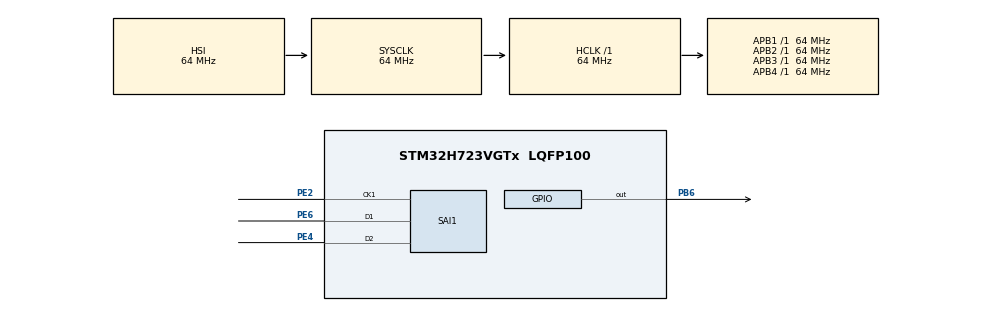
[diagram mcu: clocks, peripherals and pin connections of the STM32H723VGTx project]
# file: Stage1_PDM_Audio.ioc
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CORTEX_M7.default_mode_Activation=1
Dma.MEMTOMEM.1.Direction=DMA_MEMORY_TO_MEMORY
Dma.MEMTOMEM.1.EventEnable=DISABLE
Dma.MEMTOMEM.1.FIFOMode=DMA_FIFOMODE_ENABLE
Dma.MEMTOMEM.1.FIFOThreshold=DMA_FIFO_THRESHOLD_FULL
Dma.MEMTOMEM.1.Instance=DMA1_Stream1
Dma.MEMTOMEM.1.MemBurst=DMA_MBURST_SINGLE
Dma.MEMTOMEM.1.MemDataAlignment=DMA_MDATAALIGN_BYTE
Dma.MEMTOMEM.1.MemInc=DMA_MINC_ENABLE
Dma.MEMTOMEM.1.Mode=DMA_NORMAL
Dma.MEMTOMEM.1.PeriphBurst=DMA_PBURST_SINGLE
Dma.MEMTOMEM.1.PeriphDataAlignment=DMA_PDATAALIGN_BYTE
Dma.MEMTOMEM.1.PeriphInc=DMA_PINC_ENABLE
Dma.MEMTOMEM.1.Polarity=HAL_DMAMUX_REQ_GEN_RISING
Dma.MEMTOMEM.1.Priority=DMA_PRIORITY_LOW
Dma.MEMTOMEM.1.RequestNumber=1
Dma.MEMTOMEM.1.SignalID=NONE
Dma.MEMTOMEM.1.SyncEnable=DISABLE
Dma.MEMTOMEM.1.SyncPolarity=HAL_DMAMUX_SYNC_NO_EVENT
Dma.MEMTOMEM.1.SyncRequestNumber=1
Dma.MEMTOMEM.1.SyncSignalID=NONE
Dma.Request0=SAI1_A
Dma.Request1=MEMTOMEM
Dma.SAI1_A.0.Direction=DMA_PERIPH_TO_MEMORY
Dma.SAI1_A.0.EventEnable=DISABLE
Dma.SAI1_A.0.FIFOMode=DMA_FIFOMODE_DISABLE
Dma.SAI1_A.0.Instance=DMA1_Stream0
Dma.SAI1_A.0.MemDataAlignment=DMA_MDATAALIGN_HALFWORD
Dma.SAI1_A.0.MemInc=DMA_MINC_ENABLE
Dma.SAI1_A.0.Mode=DMA_CIRCULAR
Dma.SAI1_A.0.PeriphDataAlignment=DMA_PDATAALIGN_HALFWORD
Dma.SAI1_A.0.PeriphInc=DMA_PINC_DISABLE
Dma.SAI1_A.0.Polarity=HAL_DMAMUX_REQ_GEN_RISING
Dma.SAI1_A.0.Priority=DMA_PRIORITY_HIGH
Dma.SAI1_A.0.RequestNumber=1
Dma.SAI1_A.0.SignalID=NONE
Dma.SAI1_A.0.SyncEnable=DISABLE
Dma.SAI1_A.0.SyncPolarity=HAL_DMAMUX_SYNC_NO_EVENT
Dma.SAI1_A.0.SyncRequestNumber=1
Dma.SAI1_A.0.SyncSignalID=NONE
Mcu.Family=STM32H7
Mcu.Name=STM32H723VGTx
Mcu.Package=LQFP100
NVIC.DMA1_Stream0_IRQn=true\:0\:0\:false\:false\:true\:false\:true\:true
NVIC.PriorityGroup=NVIC_PRIORITYGROUP_4
PB6.Signal=GPIO_Output
PC8.Signal=SDMMC1_D0
PE2.Mode=PDM_Master_Mode_CK1
PE2.Signal=SAI1_CK1
PE4.Mode=3_4_MicroPhones
PE4.Signal=SAI1_D2
PE6.Mode=PDM_Master_Mode_CK1
PE6.Signal=SAI1_D1
ProjectManager.HeapSize=0x200
ProjectManager.StackSize=0x400
ProjectManager.TargetToolchain=EWARM V8.50
RCC.ADCFreq_Value=129000000
RCC.APB1Freq_Value=64000000
RCC.APB2Freq_Value=64000000
RCC.APB3Freq_Value=64000000
RCC.APB4Freq_Value=64000000
RCC.CKPERSourceSelection=RCC_CLKPSOURCE_CSI
RCC.CortexFreq_Value=64000000
RCC.DIVM1=4
RCC.DIVM3=8
RCC.DIVN1=12
RCC.DIVN3=64
RCC.DIVQ1=3
RCC.HCLKFreq_Value=64000000
RCC.PLLFRACN=0
RCC.SYSCLKFreq_VALUE=64000000
RCC.USBFreq_Value=64000000
SAI1.Activation=ENABLE
SAI1.AudioFrequency-PDM_Master_Mode_CK1=SAI_AUDIO_FREQUENCY_48K
SAI1.DataSize-PDM_Master_Mode_CK1=SAI_DATASIZE_16
SAI1.ErrorAudioFreq-PDM_Master_Mode_CK1=30.2 %
SAI1.FrameLength-PDM_Master_Mode_CK1=64
SAI1.Instance-PDM_Master_Mode_CK1=SAI$Index_Block_A
SAI1.MckOutput=SAI_MCK_OUTPUT_DISABLE
SAI1.OutputDrive-PDM_Master_Mode_CK1=SAI_OUTPUTDRIVE_ENABLE
SAI1.RealAudioFreq-PDM_Master_Mode_CK1=62.5 KHz
SAI1.SlotActive-PDM_Master_Mode_CK1=0x0000FFFF
SAI1.SlotNumber-PDM_Master_Mode_CK1=2
SAI1.VirtualMode-PDM_Master_Mode_CK1=VM_MASTER
SAI1.VirtualProtocol-PDM_Master_Mode_CK1=VM_PDM_PROTOCOL
SAI1.VirtualSlotActive-PDM_Master_Mode_CK1=SAI_SLOTACTIVE_ALL
VP_MEMORYMAP_VS_MEMORYMAP.Mode=CurAppReg
board=custom

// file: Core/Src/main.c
/* USER CODE BEGIN Header */
/**
  ******************************************************************************
  * @file           : main.c
  * @brief          : Main program body
  ******************************************************************************
  * @attention
  *
  * Copyright (c) 2025 STMicroelectronics.
  * All rights reserved.
  *
  * This software is licensed under terms that can be found in the LICENSE file
  * in the root directory of this software component.
  * If no LICENSE file comes with this software, it is provided AS-IS.
  *
  ******************************************************************************
  */
/* USER CODE END Header */
#include "main.h"
SAI_HandleTypeDef hsai_BlockB1;  // Add globally
void MX_SAI1_BlockB_Init(void);

SAI_HandleTypeDef hsai_BlockA1;
DMA_HandleTypeDef hdma_sai1_a;

DMA_HandleTypeDef hdma_memtomem_dma1_stream1;

void SystemClock_Config(void);
static void MPU_Config(void);
static void MX_GPIO_Init(void);
static void MX_DMA_Init(void);
static void MX_SAI1_Init(void);

/* USER CODE BEGIN 0 */
#define AUDIO_BUFFER_SIZE 512  // 128 PCM samples * 4 microphones
#include "pdm2pcm_glo.h"

PDM_Filter_Handler_t PDM_FilterHandler[4];
PDM_Filter_Config_t  PDM_FilterConfig[4];

/* Align buffers properly for DMA + filtering */
ALIGN_32BYTES(uint16_t pdm_buffer[AUDIO_BUFFER_SIZE]);
ALIGN_32BYTES(int16_t pcm_buffer[4][128]);
ALIGN_32BYTES(int16_t interleaved_pcm[128 * 4]);  // 128 samples per mic � 4 mics

/* USER CODE END 0 */

int main(void)
{

  /* MPU Configuration--------------------------------------------------------*/
  MPU_Config();

  /* MCU Configuration--------------------------------------------------------*/

  /* Reset of all peripherals, Initializes the Flash interface and the Systick. */
  HAL_Init();

  /* Configure the system clock */
  SystemClock_Config();

  /* Initialize all configured peripherals */
  MX_GPIO_Init();
  MX_DMA_Init();
  MX_SAI1_Init();
  __HAL_LINKDMA(&hsai_BlockA1, hdmarx, hdma_sai1_a);  // DMA link required for HAL to work

  MX_SAI1_BlockB_Init();
  __HAL_SAI_ENABLE(&hsai_BlockB1);  // Needed to output clock on PE2
  /* USER CODE BEGIN 2 */

/* USER CODE BEGIN 2 */

// Step 1: Mount the filesystem

// Step 4: Init PDM filters
// Step 4: Init PDM filters
for (int i = 0; i < 4; i++)
{
    PDM_FilterHandler[i].bit_order = PDM_FILTER_BIT_ORDER_MSB; // ✅ FIXED: LSB ➝ MSB
    PDM_FilterHandler[i].endianness = PDM_FILTER_ENDIANNESS_LE;
    PDM_FilterHandler[i].high_pass_tap = 512;
    PDM_FilterHandler[i].out_ptr_channels = 1;
    PDM_FilterHandler[i].in_ptr_channels = 1;

    PDM_Filter_Init(&PDM_FilterHandler[i]);

    PDM_FilterConfig[i].output_samples_number = 128;            // Keep or test 64 later
    PDM_FilterConfig[i].mic_gain = 6;                           // ✅ FIXED: Lower gain
    PDM_FilterConfig[i].decimation_factor = PDM_FILTER_DEC_FACTOR_64;

    PDM_Filter_setConfig(&PDM_FilterHandler[i], &PDM_FilterConfig[i]);
}

// Step 5: Start audio reception
if (HAL_SAI_Receive_DMA(&hsai_BlockA1, (uint8_t*)pdm_buffer, AUDIO_BUFFER_SIZE) != HAL_OK)
{
    Error_Handler();  // DMA failed to start
}

HAL_GPIO_WritePin(GPIOB, GPIO_PIN_6, GPIO_PIN_SET);

  /* USER CODE END 2 */

  /* Infinite loop */
  while (1)
  {

  }
}

void SystemClock_Config(void)
{
  RCC_OscInitTypeDef RCC_OscInitStruct = {0};
  RCC_ClkInitTypeDef RCC_ClkInitStruct = {0};
  RCC_PeriphCLKInitTypeDef PeriphClkInitStruct = {0};

  /** Supply configuration update enable */
  HAL_PWREx_ConfigSupply(PWR_LDO_SUPPLY);

  /** Configure the main internal regulator output voltage */
  __HAL_PWR_VOLTAGESCALING_CONFIG(PWR_REGULATOR_VOLTAGE_SCALE3);
  while(!__HAL_PWR_GET_FLAG(PWR_FLAG_VOSRDY)) {}

  /** Initializes the RCC Oscillators (HSI + PLL1 only here) */
  RCC_OscInitStruct.OscillatorType = RCC_OSCILLATORTYPE_HSI;
  RCC_OscInitStruct.HSIState = RCC_HSI_DIV1;
  RCC_OscInitStruct.HSICalibrationValue = RCC_HSICALIBRATION_DEFAULT;

  RCC_OscInitStruct.PLL.PLLState = RCC_PLL_ON;
  RCC_OscInitStruct.PLL.PLLSource = RCC_PLLSOURCE_HSI;
  RCC_OscInitStruct.PLL.PLLM = 4;
  RCC_OscInitStruct.PLL.PLLN = 12;
  RCC_OscInitStruct.PLL.PLLP = 2;
  RCC_OscInitStruct.PLL.PLLQ = 3;
  RCC_OscInitStruct.PLL.PLLR = 2;
  RCC_OscInitStruct.PLL.PLLRGE = RCC_PLL1VCIRANGE_3;
  RCC_OscInitStruct.PLL.PLLVCOSEL = RCC_PLL1VCOWIDE;
  RCC_OscInitStruct.PLL.PLLFRACN = 0;

  if (HAL_RCC_OscConfig(&RCC_OscInitStruct) != HAL_OK)
  {
    Error_Handler();
  }

  /** Initializes the CPU, AHB and APB buses clocks */
  RCC_ClkInitStruct.ClockType = RCC_CLOCKTYPE_HCLK|RCC_CLOCKTYPE_SYSCLK
                              |RCC_CLOCKTYPE_PCLK1|RCC_CLOCKTYPE_PCLK2
                              |RCC_CLOCKTYPE_D3PCLK1|RCC_CLOCKTYPE_D1PCLK1;
  RCC_ClkInitStruct.SYSCLKSource = RCC_SYSCLKSOURCE_HSI;
  RCC_ClkInitStruct.SYSCLKDivider = RCC_SYSCLK_DIV1;
  RCC_ClkInitStruct.AHBCLKDivider = RCC_HCLK_DIV1;
  RCC_ClkInitStruct.APB3CLKDivider = RCC_APB3_DIV1;
  RCC_ClkInitStruct.APB1CLKDivider = RCC_APB1_DIV1;
  RCC_ClkInitStruct.APB2CLKDivider = RCC_APB2_DIV1;
  RCC_ClkInitStruct.APB4CLKDivider = RCC_APB4_DIV1;

  if (HAL_RCC_ClockConfig(&RCC_ClkInitStruct, FLASH_LATENCY_1) != HAL_OK)
  {
    Error_Handler();
  }

  /**  Configure PLL2 and assign it to SAI1 */
  PeriphClkInitStruct.PeriphClockSelection = RCC_PERIPHCLK_SAI1;
  PeriphClkInitStruct.PLL2.PLL2M = 4;
  PeriphClkInitStruct.PLL2.PLL2N = 86;
  PeriphClkInitStruct.PLL2.PLL2P = 28;
  PeriphClkInitStruct.PLL2.PLL2Q = 7;
  PeriphClkInitStruct.PLL2.PLL2R = 7;
  PeriphClkInitStruct.PLL2.PLL2RGE = RCC_PLL2VCIRANGE_3;
  PeriphClkInitStruct.PLL2.PLL2VCOSEL = RCC_PLL2VCOWIDE;
  PeriphClkInitStruct.PLL2.PLL2FRACN = 0;
  PeriphClkInitStruct.Sai1ClockSelection = RCC_SAI1CLKSOURCE_PLL2;

  if (HAL_RCCEx_PeriphCLKConfig(&PeriphClkInitStruct) != HAL_OK)
  {
    Error_Handler();
  }
}

static void MX_SAI1_Init(void)
{

  hsai_BlockA1.Instance = SAI1_Block_A;
  hsai_BlockA1.Init.Protocol = SAI_FREE_PROTOCOL;
  hsai_BlockA1.Init.AudioMode = SAI_MODEMASTER_RX;
  hsai_BlockA1.Init.DataSize = SAI_DATASIZE_16;
  hsai_BlockA1.Init.FirstBit = SAI_FIRSTBIT_MSB;
  hsai_BlockA1.Init.ClockStrobing = SAI_CLOCKSTROBING_FALLINGEDGE;
  hsai_BlockA1.Init.Synchro = SAI_ASYNCHRONOUS;
  hsai_BlockA1.Init.OutputDrive = SAI_OUTPUTDRIVE_ENABLE;
  hsai_BlockA1.Init.NoDivider = SAI_MASTERDIVIDER_ENABLE;
  hsai_BlockA1.Init.FIFOThreshold = SAI_FIFOTHRESHOLD_EMPTY;
  hsai_BlockA1.Init.AudioFrequency = SAI_AUDIO_FREQUENCY_48K;
  hsai_BlockA1.Init.MonoStereoMode = SAI_STEREOMODE;
  hsai_BlockA1.Init.CompandingMode = SAI_NOCOMPANDING;
  hsai_BlockA1.Init.PdmInit.Activation = ENABLE;
  hsai_BlockA1.Init.PdmInit.MicPairsNbr = 2;
  hsai_BlockA1.Init.PdmInit.ClockEnable = SAI_PDM_CLOCK1_ENABLE;
  hsai_BlockA1.FrameInit.FrameLength = 64;
  hsai_BlockA1.FrameInit.ActiveFrameLength = 1;
  hsai_BlockA1.FrameInit.FSDefinition = SAI_FS_STARTFRAME;
  hsai_BlockA1.FrameInit.FSPolarity = SAI_FS_ACTIVE_LOW;
  hsai_BlockA1.FrameInit.FSOffset = SAI_FS_FIRSTBIT;
  hsai_BlockA1.SlotInit.FirstBitOffset = 0;
  hsai_BlockA1.SlotInit.SlotSize = SAI_SLOTSIZE_DATASIZE;
  hsai_BlockA1.SlotInit.SlotNumber = 4;
  hsai_BlockA1.SlotInit.SlotActive = 0x0000FFFF;
  if (HAL_SAI_Init(&hsai_BlockA1) != HAL_OK)
  {
    Error_Handler();
  }

}

static void MX_SAI1_BlockB_Init(void)
{
    hsai_BlockB1.Instance = SAI1_Block_B;
    hsai_BlockB1.Init.Protocol = SAI_FREE_PROTOCOL;
    hsai_BlockB1.Init.AudioMode = SAI_MODEMASTER_TX;  // TX mode to generate clock
    hsai_BlockB1.Init.DataSize = SAI_DATASIZE_16;
    hsai_BlockB1.Init.FirstBit = SAI_FIRSTBIT_MSB;
    hsai_BlockB1.Init.ClockStrobing = SAI_CLOCKSTROBING_FALLINGEDGE;
    hsai_BlockB1.Init.Synchro = SAI_ASYNCHRONOUS;
    hsai_BlockB1.Init.OutputDrive = SAI_OUTPUTDRIVE_ENABLE;
    hsai_BlockB1.Init.NoDivider = SAI_MASTERDIVIDER_ENABLE;
    hsai_BlockB1.Init.FIFOThreshold = SAI_FIFOTHRESHOLD_EMPTY;
    hsai_BlockB1.Init.AudioFrequency = SAI_AUDIO_FREQUENCY_48K;
    hsai_BlockB1.Init.MonoStereoMode = SAI_STEREOMODE;
    hsai_BlockB1.Init.CompandingMode = SAI_NOCOMPANDING;

    if (HAL_SAI_Init(&hsai_BlockB1) != HAL_OK)
    {
        Error_Handler();
    }
}

static void MX_DMA_Init(void)
{

  /* DMA controller clock enable */
  __HAL_RCC_DMA1_CLK_ENABLE();

  /* Configure DMA request hdma_memtomem_dma1_stream1 on DMA1_Stream1 */
  hdma_memtomem_dma1_stream1.Instance = DMA1_Stream1;
  hdma_memtomem_dma1_stream1.Init.Request = DMA_REQUEST_MEM2MEM;
  hdma_memtomem_dma1_stream1.Init.Direction = DMA_MEMORY_TO_MEMORY;
  hdma_memtomem_dma1_stream1.Init.PeriphInc = DMA_PINC_ENABLE;
  hdma_memtomem_dma1_stream1.Init.MemInc = DMA_MINC_ENABLE;
  hdma_memtomem_dma1_stream1.Init.PeriphDataAlignment = DMA_PDATAALIGN_BYTE;
  hdma_memtomem_dma1_stream1.Init.MemDataAlignment = DMA_MDATAALIGN_BYTE;
  hdma_memtomem_dma1_stream1.Init.Mode = DMA_NORMAL;
  hdma_memtomem_dma1_stream1.Init.Priority = DMA_PRIORITY_LOW;
  hdma_memtomem_dma1_stream1.Init.FIFOMode = DMA_FIFOMODE_ENABLE;
  hdma_memtomem_dma1_stream1.Init.FIFOThreshold = DMA_FIFO_THRESHOLD_FULL;
  hdma_memtomem_dma1_stream1.Init.MemBurst = DMA_MBURST_SINGLE;
  hdma_memtomem_dma1_stream1.Init.PeriphBurst = DMA_PBURST_SINGLE;
  if (HAL_DMA_Init(&hdma_memtomem_dma1_stream1) != HAL_OK)
  {
    Error_Handler( );
  }

  /* DMA interrupt init */
  /* DMA1_Stream0_IRQn interrupt configuration */
  HAL_NVIC_SetPriority(DMA1_Stream0_IRQn, 0, 0);
  HAL_NVIC_EnableIRQ(DMA1_Stream0_IRQn);

}

static void MX_GPIO_Init(void)
{
  GPIO_InitTypeDef GPIO_InitStruct = {0};

  /* GPIO Ports Clock Enable */
  __HAL_RCC_GPIOE_CLK_ENABLE();
  __HAL_RCC_GPIOC_CLK_ENABLE();
  __HAL_RCC_GPIOB_CLK_ENABLE();

  /*Configure GPIO pin Output Level */
  HAL_GPIO_WritePin(GPIOB, GPIO_PIN_6, GPIO_PIN_RESET);

  /*Configure GPIO pin : PC8 */
  GPIO_InitStruct.Pin = GPIO_PIN_8;
  GPIO_InitStruct.Mode = GPIO_MODE_AF_PP;
  GPIO_InitStruct.Pull = GPIO_NOPULL;
  GPIO_InitStruct.Speed = GPIO_SPEED_FREQ_VERY_HIGH;
  GPIO_InitStruct.Alternate = GPIO_AF12_SDMMC1;
  HAL_GPIO_Init(GPIOC, &GPIO_InitStruct);

  /*Configure GPIO pin : PB6 */
  GPIO_InitStruct.Pin = GPIO_PIN_6;
  GPIO_InitStruct.Mode = GPIO_MODE_OUTPUT_PP;
  GPIO_InitStruct.Pull = GPIO_NOPULL;
  GPIO_InitStruct.Speed = GPIO_SPEED_FREQ_LOW;
  HAL_GPIO_Init(GPIOB, &GPIO_InitStruct);

  /*  Configure GPIO pin : PE2 (SAI1_CK1 - PDM Clock Out) */
  GPIO_InitStruct.Pin = GPIO_PIN_2;
  GPIO_InitStruct.Mode = GPIO_MODE_AF_PP;
  GPIO_InitStruct.Pull = GPIO_NOPULL;
  GPIO_InitStruct.Speed = GPIO_SPEED_FREQ_VERY_HIGH;
  GPIO_InitStruct.Alternate = GPIO_AF6_SAI1;
  HAL_GPIO_Init(GPIOE, &GPIO_InitStruct);

}

/* USER CODE BEGIN 4 */
#define NUM_FRAMES 480  // ~30 KB
__attribute__((section(".AUDIO_RAM"))) ALIGN_32BYTES(int16_t ram_log[NUM_FRAMES][128 * 4]);

volatile uint16_t frame_index = 0;

void HAL_SAI_RxCpltCallback(SAI_HandleTypeDef *hsai)
{
    if (hsai->Instance == SAI1_Block_A && frame_index < NUM_FRAMES)
    {
         HAL_GPIO_TogglePin(GPIOB, GPIO_PIN_6);  // Debug pulse
        // Convert PDM to PCM
        for (int mic = 0; mic < 4; mic++)
        {
            uint8_t temp_pdm[64];
            for (int i = 0; i < 64; i++)
            {
                temp_pdm[i] = ((uint8_t*)pdm_buffer)[i * 4 + mic];
            }
            PDM_Filter(temp_pdm, (uint16_t*)pcm_buffer[mic], &PDM_FilterHandler[mic]);
        }

        // Interleave into ram_log[frame_index]
        for (int i = 0; i < 128; i++)
        {
            ram_log[frame_index][i * 4 + 0] = pcm_buffer[0][i];
            ram_log[frame_index][i * 4 + 1] = pcm_buffer[1][i];
            ram_log[frame_index][i * 4 + 2] = pcm_buffer[2][i];
            ram_log[frame_index][i * 4 + 3] = pcm_buffer[3][i];
        }

        // Wrap frame index
        frame_index = (frame_index + 1) % NUM_FRAMES;

    }
}

/* USER CODE END 4 */

 /* MPU Configuration */

void MPU_Config(void)
{
  MPU_Region_InitTypeDef MPU_InitStruct = {0};

  /* Disables the MPU */
  HAL_MPU_Disable();

  /** Initializes and configures the Region and the memory to be protected
  */
  MPU_InitStruct.Enable = MPU_REGION_ENABLE;
  MPU_InitStruct.Number = MPU_REGION_NUMBER0;
  MPU_InitStruct.BaseAddress = 0x0;
  MPU_InitStruct.Size = MPU_REGION_SIZE_4GB;
  MPU_InitStruct.SubRegionDisable = 0x87;
  MPU_InitStruct.TypeExtField = MPU_TEX_LEVEL0;
  MPU_InitStruct.AccessPermission = MPU_REGION_NO_ACCESS;
  MPU_InitStruct.DisableExec = MPU_INSTRUCTION_ACCESS_DISABLE;
  MPU_InitStruct.IsShareable = MPU_ACCESS_SHAREABLE;
  MPU_InitStruct.IsCacheable = MPU_ACCESS_NOT_CACHEABLE;
  MPU_InitStruct.IsBufferable = MPU_ACCESS_NOT_BUFFERABLE;

  HAL_MPU_ConfigRegion(&MPU_InitStruct);
  /* Enables the MPU */
  HAL_MPU_Enable(MPU_PRIVILEGED_DEFAULT);

}

void Error_Handler(void)
{
  __disable_irq();
  while (1)
  {
  }
}
